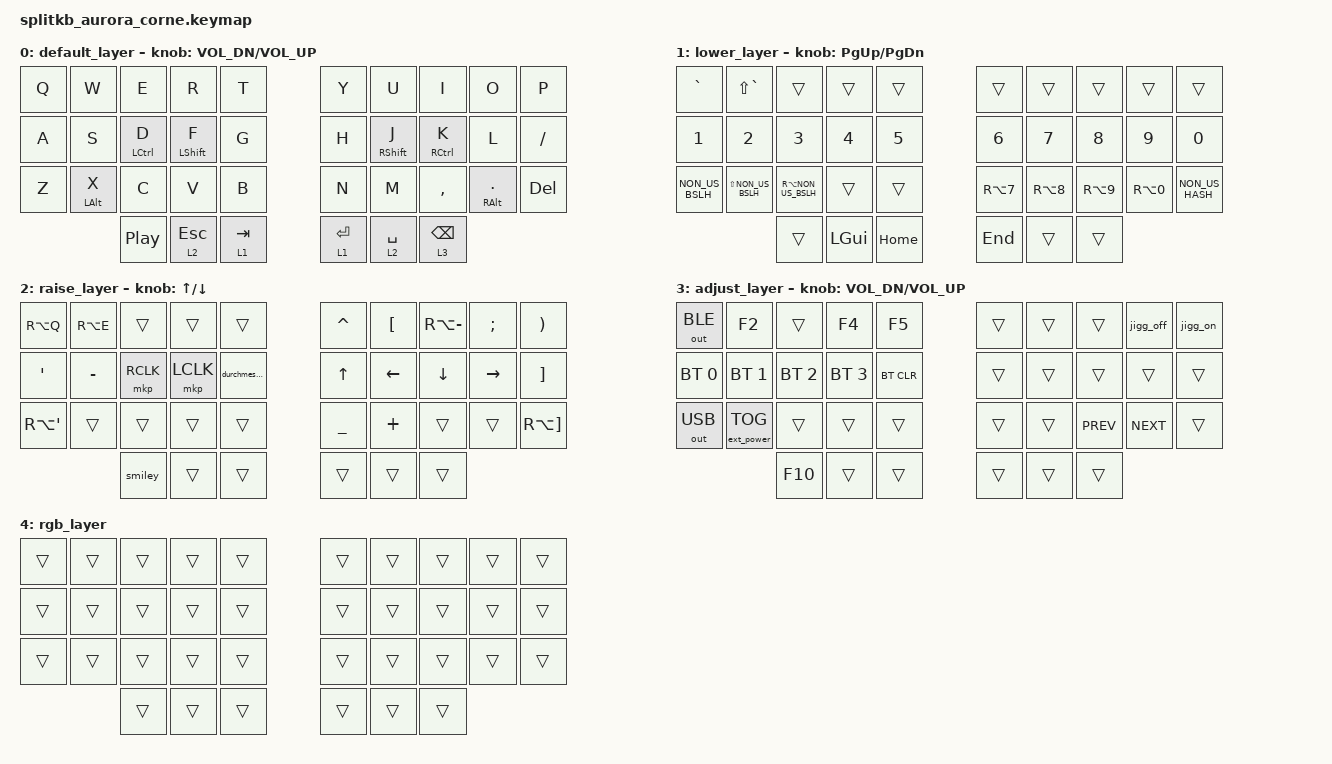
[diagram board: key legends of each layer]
#include <behaviors.dtsi>
#include <dt-bindings/zmk/keys.h>
#include <dt-bindings/zmk/bt.h>
#include <dt-bindings/zmk/ext_power.h>
#include <dt-bindings/zmk/pointing.h>
#include <dt-bindings/zmk/mouse.h>
#include <dt-bindings/zmk/outputs.h>

/ {
    /* MATRIX-ANPASSUNG FÜR 5 SPALTEN */
    chosen {
        zmk,matrix_transform = &five_column_transform;
    };

    /* TRI-LAYER LOGIK: L1 + L2 = L4 */
    conditional_layers {
        compatible = "zmk,conditional-layers";
        tri_layer {
            if-layers = <1 2>;
            then-layer = <4>; 
        };
    };

    macros {
        durchmesser: durchmesser {
            compatible = "zmk,behavior-macro";
            #binding-cells = <0>;
            bindings = <&macro_press &kp LALT>, <&macro_tap &kp KP_N0 &kp KP_N2 &kp KP_N4 &kp KP_N8>, <&macro_release &kp LALT>;
        };

        smiley: smiley {
            compatible = "zmk,behavior-macro";
            #binding-cells = <0>;
            wait-ms = <20>;
            tap-ms = <20>;
            bindings = <&macro_press &kp LSHFT>, <&macro_tap &kp COMMA>, <&macro_release &kp LSHFT>, <&macro_tap &kp SLASH>, <&macro_press &kp LSHFT>, <&macro_tap &kp N9>, <&macro_release &kp LSHFT>;
        };

        jigg_on: jigg_on {
            compatible = "zmk,behavior-macro";
            #binding-cells = <0>;
            wait-ms = <30>;
            tap-ms = <30>;
            bindings = <&macro_press &kp LGUI>, <&macro_tap &kp D>, <&macro_release &kp LGUI>, <&macro_wait_time 200>, <&macro_press &kp LCTRL>, <&macro_tap &kp LGUI>;
        };

        jigg_off: jigg_off {
            compatible = "zmk,behavior-macro";
            #binding-cells = <0>;
            wait-ms = <30>;
            tap-ms = <30>;
            bindings = <&macro_release &kp LCTRL>, <&macro_wait_time 100>, <&macro_tap &kp LGUI>;
        };
    };

    behaviors {
        // Für CTRL, ALT, GUI (Die "gefährlichen" Mods)
        hrm_safe: hrm_safe {
            compatible = "zmk,behavior-hold-tap";
            #binding-cells = <2>;
            tapping-term-ms = <280>;
            quick-tap-ms = <175>; 
            flavor = "balanced"; // "balanced" ist oft stabiler für HRM als tap-preferred
            require-prior-idle-ms = <150>; 
            bindings = <&kp>, <&kp>;
            hold-trigger-on-release; // Aktiviert den Mod erst, wenn die ANDERE Taste losgelassen wird
        };

        // Für SHIFT (Muss oft schneller reagieren)
        hrm_shift: hrm_shift {
            compatible = "zmk,behavior-hold-tap";
            #binding-cells = <2>;
            tapping-term-ms = <200>;
            quick-tap-ms = <150>; 
            flavor = "balanced";
            // Shift braucht meistens kein prior-idle, damit "Shift + Buchstabe" flüssig bleibt
            bindings = <&kp>, <&kp>;
            hold-trigger-on-release;
        };

        // DAUMEN-LOGIK: Verhindert versehentliche Layer-Wechsel
        thumb_layer: thumb_layer {
            compatible = "zmk,behavior-hold-tap";
            #binding-cells = <2>;
            tapping-term-ms = <200>;
            quick-tap-ms = <175>; 
            flavor = "tap-preferred";
            bindings = <&mo>, <&kp>;
        };
    };

    keymap {
        compatible = "zmk,keymap";

        default_layer {
            bindings = <
    &kp Q  &kp W             &kp E              &kp R               &kp T                &kp Y              &kp U                &kp I             &kp O               &kp P
    &kp A  &kp S             &hrm_safe LCTRL D  &hrm_shift LSHIFT F &kp G                &kp H              &hrm_shift RSHIFT J  &hrm_safe RCTRL K &kp L               &kp SLASH
    &kp Z  &hrm_safe LALT X  &kp C              &kp V               &kp B                &kp N              &kp M                &kp COMMA         &hrm_safe RALT DOT  &kp DEL
                             &kp C_PP           &thumb_layer 2 ESC  &thumb_layer 1 TAB   &thumb_layer 1 RET &thumb_layer 2 SPACE &thumb_layer 3 BSPC
            >;
            sensor-bindings = <&inc_dec_kp C_VOL_DN C_VOL_UP>;
        };

        lower_layer {
            bindings = <  
    &kp GRAVE       &kp LS(GRAVE)       &trans              &trans    &trans        &trans     &trans     &trans     &trans     &trans
    &kp N1          &kp N2              &kp N3              &kp N4    &kp N5        &kp N6     &kp N7     &kp N8     &kp N9     &kp N0
    &kp NON_US_BSLH &kp LS(NON_US_BSLH) &kp RA(NON_US_BSLH) &trans    &trans        &kp RA(N7) &kp RA(N8) &kp RA(N9) &kp RA(N0) &kp NON_US_HASH
                                        &trans              &kp LGUI  &kp HOME      &kp END    &trans     &trans
            >;
            sensor-bindings = <&inc_dec_kp PG_UP PG_DN>;
        };

        raise_layer {
            bindings = <
    &kp RA(Q)   &kp RA(E) &trans    &trans    &trans                &kp CARET &kp LBKT &kp RA(MINUS) &kp SEMI  &kp RPAR
    &kp SQT     &kp MINUS &mkp RCLK &mkp LCLK &durchmesser          &kp UP    &kp LEFT &kp DOWN      &kp RIGHT &kp RBKT
    &kp RA(SQT) &trans    &trans    &trans    &trans                &kp UNDER &kp PLUS &trans        &trans    &kp RA(RBKT)
                          &smiley   &trans    &trans                &trans    &trans   &trans
            >;
            sensor-bindings = <&inc_dec_kp UP DOWN>;
        };

        adjust_layer {
            bindings = <
    &out OUT_BLE  &kp F2            &trans        &kp F4        &kp F5           &trans  &trans  &trans      &jigg_off   &jigg_on
    &bt BT_SEL 0  &bt BT_SEL 1      &bt BT_SEL 2  &bt BT_SEL 3  &bt BT_CLR       &trans  &trans  &trans      &trans      &trans
    &out OUT_USB  &ext_power EP_TOG &trans        &trans        &trans           &trans  &trans  &kp C_PREV  &kp C_NEXT  &trans
                                    &kp F10       &trans        &trans           &trans  &trans  &trans
            >;
            sensor-bindings = <&inc_dec_kp C_VOL_DN C_VOL_UP>;
        };

        rgb_layer {
            bindings = <
    &trans &trans &trans &trans &trans    &trans &trans &trans &trans &trans
    &trans &trans &trans &trans &trans    &trans &trans &trans &trans &trans
    &trans &trans &trans &trans &trans    &trans &trans &trans &trans &trans
                  &trans &trans &trans    &trans &trans &trans
            >;
        };
    };
};
